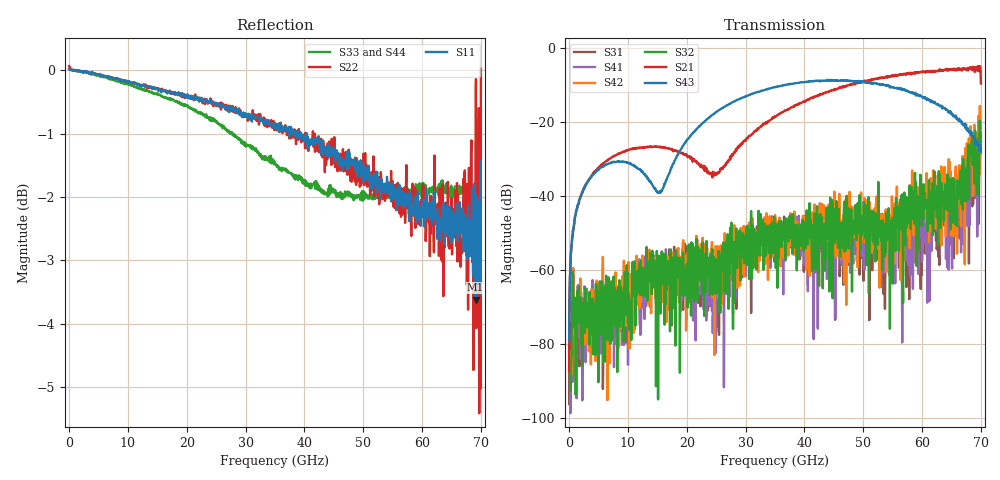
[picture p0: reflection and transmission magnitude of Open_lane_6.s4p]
! 4/13/2026 10:52:46 AM
! C:\ANRITSUVNA\DATA\SARA\2026-04-13 T5 MZDRV\DEEMB STRUCTURES\OPEN_1.S4P
! CHANNEL.1
! TR.MEASUREMENT
! CORRECTED.DATA
! RF.CORRECTION: FULL.FOUR.PORT.CAL.PORT.1.2.3.4
! AVERAGING.OFF
! IF.BANDWIDTH: 1KHZ
! SWEEPTYPE:  FREQ.SWEEP(Linear)
! Reference Plane Port Info
! PORT:  PORT1  PORT2  PORT3  PORT4
! DISTANCE:  0  m  0  m  0  m  0  m
! TIME:  0  s  0  s  0  s  0  s
! PHASE.OFFSET:  0 °  0 °  0 °  0 °
! LOSS:  0  dB  0  dB  0  dB  0  dB
! REF.LOSS:  0  dB  0  dB  0  dB  0  dB
! REF.FREQ:  0  Hz  0  Hz  0  Hz  0  Hz
! Power Info
! POWER:  -20  dBm  -20  dBm  -20  dBm  -20  dBm
! EFF.POWER:  -20  dBm  -20  dBm  -20  dBm  -20  dBm
! SOURCE.ATTEN:  0  dB  0  dB  0  dB  0  dB
! TEST.ATTEN:  0  dB  0  dB  0  dB  0  dB
# HZ S DB R 50.0
! FREQ.HZ  S11DB  S11A  S12DB  S12A  S13DB  S13A  S14DB  S14A
!  S21DB  S21A  S22DB  S22A  S23DB  S23A  S24DB  S24A
!  S31DB  S31A  S32DB  S32A  S33DB  S33A  S34DB  S34A
!  S41DB  S41A  S42DB  S42A  S43DB  S43A  S44DB  S44A
!; PortSelection: Port_1234
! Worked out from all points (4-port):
!   1001 points, 10 MHz to 70 GHz, reference 50 ohm
!   strongest paths, dB at 10 MHz, 17.51 GHz, 35.01 GHz, 52.5 GHz, 70 GHz:
!     S43: -79.0, -31.9, -10.6, -9.6, -27.1
!     S21: -87.2, -27.3, -18.5, -8.3, -9.6
!     S32: -77.5, -69.2, -49.0, -53.1, -25.1
!     S42: -76.6, -55.3, -45.1, -45.5, -20.4
!     S41: -82.3, -60.8, -47.8, -50.2, -22.9
!     S31: -78.9, -64.3, -51.1, -49.1, -26.2
!   lowest |S11| = -3.6 dB at 69.09 GHz (marker M1), VSWR 4.87, Z = 10.4 - j4.89 ohm
!   |S11| at or under -10 dB: nowhere
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1e7  0.01 -0.0  -88.29 60.7  -102.97 59.0  -86.18 -2.7
     -87.21 93.0  0.06 0.1  -81.74 -70.4  -94.77 -129.9
     -78.86 150.5  -77.47 -5.3  0.03 0.0  -84.04 22.4
     -82.33 128.3  -76.62 -167.0  -78.96 61.2  0.01 0.0
1.05985e9  -0.00 -2.7  -45.74 88.2  -81.01 -149.0  -85.29 -53.7
           -45.35 89.6  -0.01 -2.6  -75.80 7.2  -78.66 109.4
           -75.77 -93.4  -69.84 -31.2  -0.01 -4.4  -45.15 85.3
           -78.73 -7.3  -71.65 -82.7  -45.59 87.5  -0.01 -4.4
5.11927e9  -0.08 -12.5  -32.08 80.2  -67.47 98.1  -77.61 -4.7
           -32.12 80.6  -0.07 -12.4  -76.26 37.3  -75.39 -125.9
           -66.93 -53.0  -67.87 168.8  -0.09 -20.9  -32.76 72.4
           -78.82 -168.6  -68.91 -25.8  -32.75 72.1  -0.07 -20.9
3.052564e10  -0.69 -73.3  -24.01 165.2  -53.96 -173.2  -51.30 -164.7
             -23.93 165.9  -0.74 -73.0  -51.81 -172.7  -52.10 175.2
             -50.99 -175.1  -50.81 170.7  -1.19 -126.5  -12.74 134.2
             -53.00 -163.0  -51.00 -162.7  -12.76 134.1  -1.16 -126.3
5.425225e10  -1.88 -135.7  -7.85 131.0  -53.97 -0.7  -62.25 36.8
             -7.91 130.5  -1.92 -134.8  -63.54 -48.0  -52.70 20.9
             -53.15 79.8  -47.37 -67.5  -2.01 137.1  -10.29 49.2
             -52.07 44.5  -46.28 -32.2  -10.22 50.0  -1.92 136.7
6.909013e10  -3.62 -168.3  -5.14 101.6  -50.97 103.9  -48.50 171.1
             -5.33 106.0  -1.62 -170.3  -48.51 -177.4  -54.12 176.8
             -33.50 103.6  -31.27 99.4  -2.06 81.9  -25.07 -8.0
             -36.67 45.8  -27.10 115.4  -25.28 1.1  -1.73 82.0
7e10  -3.53 170.5  -9.38 146.1  -42.27 175.5  -35.76 -75.6
      -9.60 145.7  0.02 -62.5  -55.44 -13.0  -34.31 -16.4
      -26.17 -80.3  -25.14 47.3  -3.13 71.3  -29.78 -8.7
      -22.89 91.7  -20.38 136.6  -27.05 -14.7  -0.99 71.0
